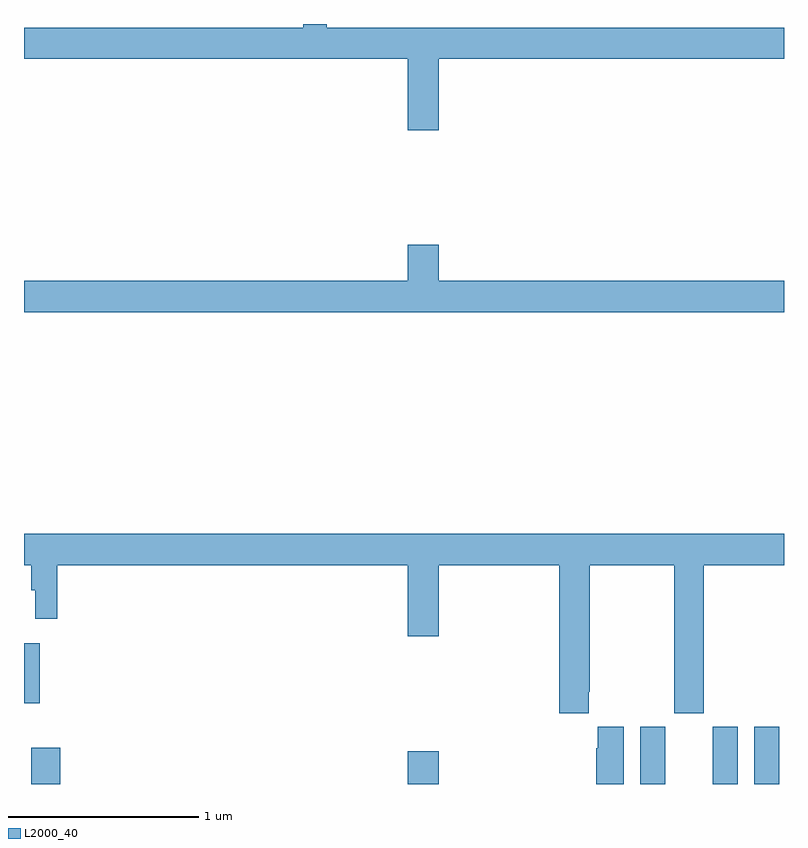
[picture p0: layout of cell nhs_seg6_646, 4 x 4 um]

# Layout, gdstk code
import gdstk
lib = gdstk.Library(unit=1e-6, precision=1e-09)
def R(c, l, rs):  # rectangles x0, y0, x1, y1
    for r in rs: c.add(gdstk.rectangle(r[:2], r[2:], *l))
def P(c, l, *ps):  # polygons
    for p in ps: c.add(gdstk.Polygon(p, *l))
L2000_40 = (2000, 40)

nhs_seg6_646 = lib.new_cell('nhs_seg6_646')
R(nhs_seg6_646, L2000_40, [(151.037,963.5,151.19,963.691), (153.02,963.5,153.184,963.673), (154.244,963.5,154.375,963.802), (154.625,963.5,154.756,963.802), (154.844,963.5,154.975,963.802), (151,963.924,151.082,964.242)])
P(nhs_seg6_646, L2000_40, [(153.184,967.316),(155,967.316),(155,967.48),(152.593,967.48),(152.593,967.5),(152.471,967.5),(152.471,967.48),(151,967.48),(151,967.316),(153.02,967.316),(153.02,966.942),(153.184,966.942)],
  [(155,966.148),(153.184,966.148),(153.184,966.337),(153.02,966.337),(153.02,966.148),(151,966.148),(151,965.984),(155,965.984)],
  [(153.973,963.985),(153.978,963.985),(153.978,964.652),(154.423,964.652),(154.423,963.873),(154.578,963.873),(154.578,964.652),(155,964.652),(155,964.816),(151,964.816),(151,964.652),(151.039,964.652),(151.039,964.52),(151.058,964.52),(151.058,964.371),(151.175,964.371),(151.175,964.652),(153.02,964.652),(153.02,964.278),(153.184,964.278),(153.184,964.652),(153.818,964.652),(153.818,963.873),(153.973,963.873)],
  [(154.156,963.802),(154.019,963.802),(154.019,963.689),(154.013,963.689),(154.013,963.5),(154.156,963.5)])

lib.write_gds('nhs_seg6_646.gds')
